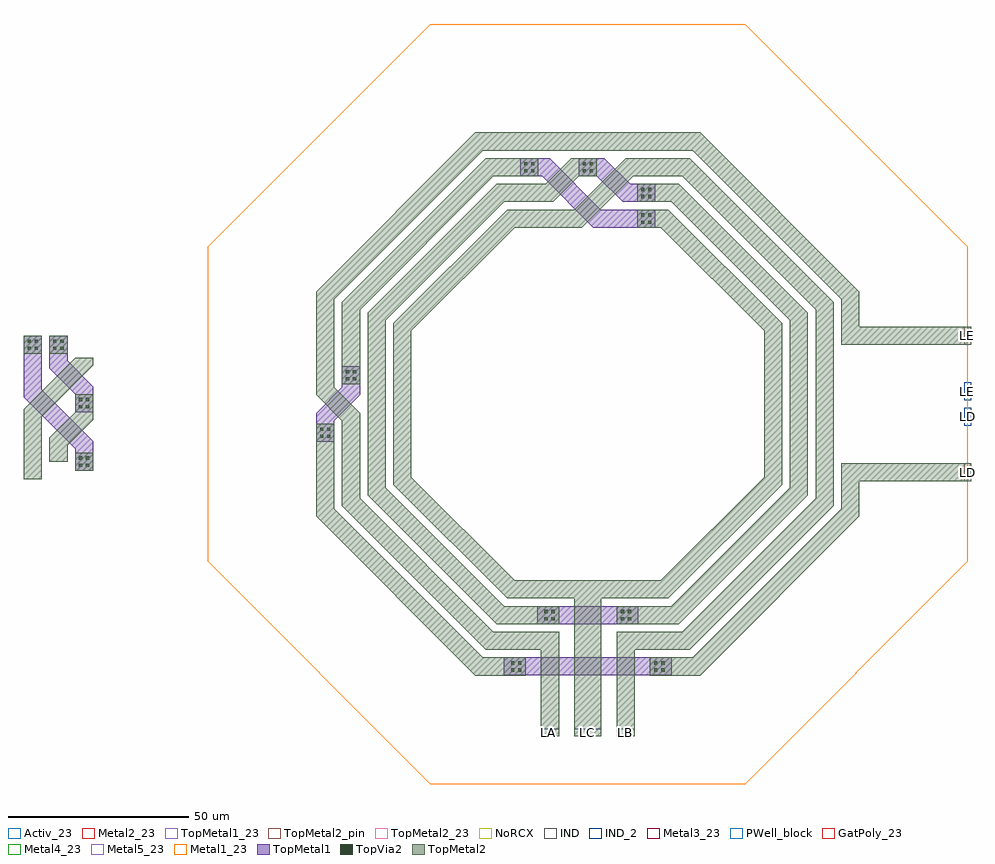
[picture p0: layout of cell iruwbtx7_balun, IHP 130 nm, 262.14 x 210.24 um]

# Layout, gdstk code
import gdstk
lib = gdstk.Library(unit=1e-6, precision=1e-09)
def R(c, l, rs):  # rectangles x0, y0, x1, y1
    for r in rs: c.add(gdstk.rectangle(r[:2], r[2:], *l))
def P(c, l, *ps):  # polygons
    for p in ps: c.add(gdstk.Polygon(p, *l))
Activ_23 = (1, 23)
GatPoly_23 = (5, 23)
Metal1_23 = (8, 23)
Metal2_23 = (10, 23)
IND = (27, 0)
IND_2 = (27, 2)
Metal3_23 = (30, 23)
PWell_block = (46, 21)
Metal4_23 = (50, 23)
Metal5_23 = (67, 23)
TopMetal1 = (126, 0)
TopMetal1_23 = (126, 23)
TopVia2 = (133, 0)
TopMetal2 = (134, 0)
TopMetal2_pin = (134, 2)
TopMetal2_23 = (134, 23)
NoRCX = (148, 0)

iruwbtx7_balun = lib.new_cell('iruwbtx7_balun')
P(iruwbtx7_balun, Activ_23, [(61.58,0),(0,61.58),(0,148.66),(61.58,210.24),(148.66,210.24),(210.24,148.66),(210.24,61.58),(148.66,0)])
P(iruwbtx7_balun, GatPoly_23, [(61.58,0),(0,61.58),(0,148.66),(61.58,210.24),(148.66,210.24),(210.24,148.66),(210.24,61.58),(148.66,0)])
P(iruwbtx7_balun, Metal1_23, [(61.58,0),(0,61.58),(0,148.66),(61.58,210.24),(148.66,210.24),(210.24,148.66),(210.24,61.58),(148.66,0)])
P(iruwbtx7_balun, Metal2_23, [(61.58,0),(0,61.58),(0,148.66),(61.58,210.24),(148.66,210.24),(210.24,148.66),(210.24,61.58),(148.66,0)])
P(iruwbtx7_balun, IND, [(61.58,0),(0,61.58),(0,148.66),(61.58,210.24),(148.66,210.24),(210.24,148.66),(210.24,61.58),(148.66,0)])
R(iruwbtx7_balun, IND_2, [(92.19,13.22,97.19,15.22), (101.39,13.22,108.89,15.22), (113.09,13.22,118.09,15.22), (209.24,99.07,211.24,104.07), (209.24,106.17,211.24,111.17)])
P(iruwbtx7_balun, Metal3_23, [(61.58,0),(0,61.58),(0,148.66),(61.58,210.24),(148.66,210.24),(210.24,148.66),(210.24,61.58),(148.66,0)])
P(iruwbtx7_balun, PWell_block, [(61.58,0),(0,61.58),(0,148.66),(61.58,210.24),(148.66,210.24),(210.24,148.66),(210.24,61.58),(148.66,0)])
P(iruwbtx7_balun, Metal4_23, [(61.58,0),(0,61.58),(0,148.66),(61.58,210.24),(148.66,210.24),(210.24,148.66),(210.24,61.58),(148.66,0)])
P(iruwbtx7_balun, Metal5_23, [(61.58,0),(0,61.58),(0,148.66),(61.58,210.24),(148.66,210.24),(210.24,148.66),(210.24,61.58),(148.66,0)])
R(iruwbtx7_balun, TopMetal1, [(81.96,30.02,128.31,35.02), (91.16,44.22,119.11,49.22), (-36.68,86.687,-31.68,91.687), (-36.68,102.855,-31.68,107.855), (-50.9,119.025,-45.9,124.025), (-43.78,119.025,-38.78,124.025), (118.81,153.9,123.81,158.9), (118.81,161.02,123.81,166.02), (86.472,168.12,91.472,173.12), (102.64,168.12,107.64,173.12)])
P(iruwbtx7_balun, TopMetal1, [(106.71,153.9),(92.49,168.12),(89.57,168.12),(89.57,173.12),(94.57,173.12),(108.79,158.9),(119.76,158.9),(119.76,153.9)],
  [(114.76,161.02),(107.64,168.14),(107.64,173.12),(109.74,173.12),(116.84,166.02),(123.81,166.02),(123.81,161.02)],
  [(-36.68,89.79),(-36.68,92.71),(-50.9,106.93),(-50.9,119.98),(-45.9,119.98),(-45.9,109.01),(-31.68,94.79),(-31.68,89.79)],
  [(-36.66,107.86),(-43.78,114.98),(-43.78,124.03),(-38.78,124.03),(-38.78,117.06),(-31.68,109.96),(-31.68,107.86)],
  [(30.02,94.645),(30.02,102.585),(37.14,109.705),(37.14,115.595),(42.14,115.595),(42.14,107.655),(35.02,100.535),(35.02,94.645)])
P(iruwbtx7_balun, TopMetal1_23, [(61.58,0),(0,61.58),(0,148.66),(61.58,210.24),(148.66,210.24),(210.24,148.66),(210.24,61.58),(148.66,0)])
R(iruwbtx7_balun, TopVia2, [(83.91,31.09,84.81,31.99), (85.87,31.09,86.77,31.99), (123.51,31.09,124.41,31.99), (125.47,31.09,126.37,31.99), (83.91,33.05,84.81,33.95), (85.87,33.05,86.77,33.95), (123.51,33.05,124.41,33.95), (125.47,33.05,126.37,33.95), (93.11,45.29,94.01,46.19), (95.07,45.29,95.97,46.19), (114.31,45.29,115.21,46.19), (116.27,45.29,117.17,46.19), (93.11,47.25,94.01,48.15), (95.07,47.25,95.97,48.15), (114.31,47.25,115.21,48.15), (116.27,47.25,117.17,48.15), (-35.63,87.753,-34.73,88.653), (-33.67,87.753,-32.77,88.653), (-35.63,89.713,-34.73,90.613), (-33.67,89.713,-32.77,90.613), (31.11,95.715,32.01,96.615), (33.07,95.715,33.97,96.615), (31.11,97.675,32.01,98.575), (33.07,97.675,33.97,98.575), (-35.63,103.923,-34.73,104.823), (-33.67,103.923,-32.77,104.823), (-35.63,105.883,-34.73,106.783), (-33.67,105.883,-32.77,106.783), (38.21,111.665,39.11,112.565), (40.17,111.665,41.07,112.565), (38.21,113.625,39.11,114.525), (40.17,113.625,41.07,114.525), (-42.73,120.093,-41.83,120.993), (-40.77,120.093,-39.87,120.993), (-49.83,120.095,-48.93,120.995), (-47.87,120.095,-46.97,120.995), (-42.73,122.053,-41.83,122.953), (-40.77,122.053,-39.87,122.953), (-49.83,122.055,-48.93,122.955), (-47.87,122.055,-46.97,122.955), (119.88,154.97,120.78,155.87), (121.84,154.97,122.74,155.87), (119.88,156.93,120.78,157.83), (121.84,156.93,122.74,157.83), (119.878,162.07,120.778,162.97), (121.838,162.07,122.738,162.97), (119.878,164.03,120.778,164.93), (121.838,164.03,122.738,164.93), (87.538,169.17,88.438,170.07), (89.498,169.17,90.398,170.07), (103.708,169.17,104.608,170.07), (105.668,169.17,106.568,170.07), (87.538,171.13,88.438,172.03), (89.498,171.13,90.398,172.03), (103.708,171.13,104.608,172.03), (105.668,171.13,106.568,172.03)])
R(iruwbtx7_balun, TopMetal2, [(100.54,51.32,109.74,56.32), (-50.9,84.28,-45.9,99.28), (-36.68,86.685,-31.68,91.685), (-36.68,102.855,-31.68,107.855), (168.14,104.07,173.14,106.17), (-50.9,119.025,-45.9,124.025), (-43.78,119.025,-38.78,124.025), (84.065,153.9,99.065,158.9), (118.81,153.9,123.81,158.9), (118.81,161.02,123.81,166.02), (86.47,168.12,91.47,173.12), (102.64,168.12,107.64,173.12)])
P(iruwbtx7_balun, TopMetal2, [(37.14,110.595),(37.14,133.295),(76.965,173.12),(91.47,173.12),(91.47,168.12),(79.045,168.12),(42.14,131.215),(42.14,110.595)],
  [(97.68,153.9),(97.68,158.9),(101.4,158.9),(115.62,173.12),(117.72,173.12),(117.72,168.14),(103.48,153.9)],
  [(168.14,106.17),(168.14,131.215),(131.235,168.12),(117.52,168.12),(117.52,173.12),(133.315,173.12),(173.14,133.295),(173.14,106.17)],
  [(113.09,44.22),(113.09,49.22),(128.29,49.22),(161.04,81.97),(161.04,128.27),(128.29,161.02),(118.81,161.02),(118.81,166.02),(130.37,166.02),(166.04,130.35),(166.04,79.89),(130.37,44.22)],
  [(109.74,51.32),(109.74,56.32),(125.345,56.32),(153.93,84.905),(153.93,125.315),(125.345,153.9),(118.81,153.9),(118.81,158.9),(127.425,158.9),(158.93,127.395),(158.93,82.825),(127.425,51.32)],
  [(88.93,161.02),(88.93,166.02),(93.46,166.02),(100.56,173.12),(102.64,173.12),(102.64,168.12),(95.54,161.02)],
  [(-43.78,89.15),(-43.78,95.76),(-36.68,102.86),(-31.68,102.86),(-31.68,100.78),(-38.78,93.68),(-38.78,89.15)],
  [(-50.9,97.9),(-50.9,103.7),(-36.66,117.94),(-31.68,117.94),(-31.68,115.84),(-45.9,101.62),(-45.9,97.9)],
  [(113.09,37.12),(113.09,42.12),(131.235,42.12),(168.14,79.025),(168.14,104.07),(173.14,104.07),(173.14,76.945),(133.315,37.12)],
  [(79.91,44.22),(44.24,79.89),(44.24,130.35),(79.91,166.02),(93.93,166.02),(93.93,161.02),(81.99,161.02),(49.24,128.27),(49.24,81.97),(81.99,49.22),(97.19,49.22),(97.19,44.22)],
  [(76.965,37.12),(37.14,76.945),(37.14,99.645),(42.14,99.645),(42.14,79.025),(79.045,42.12),(97.19,42.12),(97.19,37.12)],
  [(122.29,30.01),(122.29,35.01),(134.17,35.01),(175.24,76.08),(175.24,88.76),(180.24,88.76),(180.24,74),(136.25,30.01)],
  [(30.02,110.595),(30.02,136.24),(74.01,180.23),(136.25,180.23),(180.24,136.24),(180.24,121.48),(175.24,121.48),(175.24,134.16),(134.17,175.23),(76.09,175.23),(35.02,134.16),(35.02,110.595)],
  [(74.01,30.01),(30.02,74),(30.02,99.645),(35.02,99.645),(35.02,76.08),(76.09,35.01),(87.99,35.01),(87.99,30.01)],
  [(82.855,51.32),(51.35,82.825),(51.35,127.395),(82.855,158.9),(99.033,158.9),(99.033,153.9),(84.935,153.9),(56.35,125.315),(56.35,84.905),(84.935,56.32),(100.54,56.32),(100.54,51.32)],
  [(37.14,99.645),(37.14,100.535),(30.02,107.655),(30.02,110.595),(35.02,110.595),(35.02,109.735),(42.14,102.615),(42.14,99.645)])
R(iruwbtx7_balun, TopMetal2_pin, [(92.19,13.22,97.19,15.22), (101.39,13.22,108.89,15.22), (113.09,13.22,118.09,15.22), (209.24,83.76,211.24,88.76), (209.24,121.48,211.24,126.48)])
P(iruwbtx7_balun, TopMetal2_23, [(61.58,0),(0,61.58),(0,148.66),(61.58,210.24),(148.66,210.24),(210.24,148.66),(210.24,61.58),(148.66,0)])
P(iruwbtx7_balun, NoRCX, [(61.58,0),(0,61.58),(0,148.66),(61.58,210.24),(148.66,210.24),(210.24,148.66),(210.24,61.58),(148.66,0)])
iruwbtx7_balun.add(gdstk.FlexPath([(105.14,13.22),(105.14,56.32)], 7.5, ends="flush", simple_path=True, layer=134, datatype=0))  # TopMetal2
iruwbtx7_balun.add(gdstk.FlexPath([(94.69,13.22),(94.69,42.12)], 5, ends="flush", simple_path=True, layer=134, datatype=0))  # TopMetal2
iruwbtx7_balun.add(gdstk.FlexPath([(115.59,13.22),(115.59,42.12)], 5, ends="flush", simple_path=True, layer=134, datatype=0))  # TopMetal2
iruwbtx7_balun.add(gdstk.FlexPath([(211.24,86.26),(180.24,86.26)], 5, ends="flush", simple_path=True, layer=134, datatype=0))  # TopMetal2
iruwbtx7_balun.add(gdstk.FlexPath([(211.24,123.98),(180.24,123.98)], 5, ends="flush", simple_path=True, layer=134, datatype=0))  # TopMetal2
iruwbtx7_balun.add(gdstk.Label('LE', (210.24,108.67), layer=27, texttype=25))
iruwbtx7_balun.add(gdstk.Label('LD', (210.24,101.57), layer=27, texttype=25))
iruwbtx7_balun.add(gdstk.Label('LC', (105.14,14.22), layer=27, texttype=25))
iruwbtx7_balun.add(gdstk.Label('LA', (94.29,14.219), layer=27, texttype=25))
iruwbtx7_balun.add(gdstk.Label('LB', (115.59,14.219), layer=27, texttype=25))
iruwbtx7_balun.add(gdstk.Label('LB', (115.59,14.24), layer=134, texttype=25))
iruwbtx7_balun.add(gdstk.Label('LC', (105.14,14.241), layer=134, texttype=25))
iruwbtx7_balun.add(gdstk.Label('LA', (94.29,14.24), layer=134, texttype=25))
iruwbtx7_balun.add(gdstk.Label('LD', (210.24,86.26), layer=134, texttype=25))
iruwbtx7_balun.add(gdstk.Label('LE', (210.24,123.98), layer=134, texttype=25))

lib.write_gds('iruwbtx7_balun.gds')
